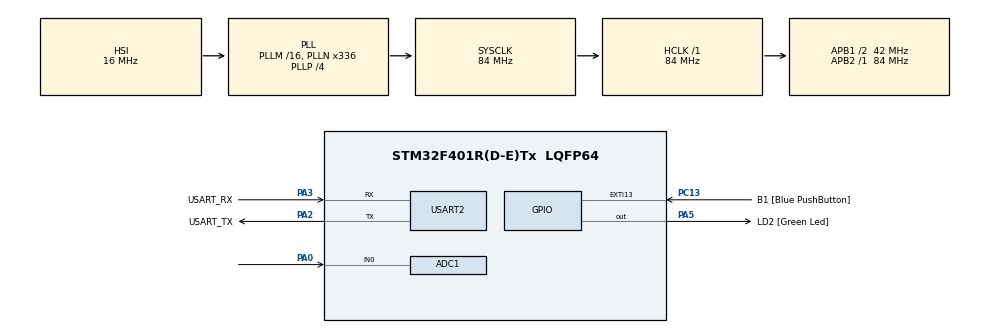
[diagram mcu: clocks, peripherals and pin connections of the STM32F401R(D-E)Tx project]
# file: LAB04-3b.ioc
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ADC1.Channel-0\#ChannelRegularConversion=ADC_CHANNEL_0
ADC1.DMAContinuousRequests=ENABLE
ADC1.ExternalTrigConv=ADC_EXTERNALTRIGCONV_T2_TRGO
ADC1.NbrOfConversionFlag=1
ADC1.Rank-0\#ChannelRegularConversion=1
ADC1.SamplingTime-0\#ChannelRegularConversion=ADC_SAMPLETIME_480CYCLES
ADC1.master=1
Dma.ADC1.0.Direction=DMA_PERIPH_TO_MEMORY
Dma.ADC1.0.FIFOMode=DMA_FIFOMODE_DISABLE
Dma.ADC1.0.Instance=DMA2_Stream0
Dma.ADC1.0.MemDataAlignment=DMA_MDATAALIGN_WORD
Dma.ADC1.0.MemInc=DMA_MINC_ENABLE
Dma.ADC1.0.Mode=DMA_CIRCULAR
Dma.ADC1.0.PeriphDataAlignment=DMA_PDATAALIGN_WORD
Dma.ADC1.0.PeriphInc=DMA_PINC_DISABLE
Dma.ADC1.0.Priority=DMA_PRIORITY_LOW
Dma.Request0=ADC1
Dma.Request1=USART2_TX
Dma.USART2_TX.1.Direction=DMA_MEMORY_TO_PERIPH
Dma.USART2_TX.1.FIFOMode=DMA_FIFOMODE_DISABLE
Dma.USART2_TX.1.Instance=DMA1_Stream6
Dma.USART2_TX.1.MemDataAlignment=DMA_MDATAALIGN_BYTE
Dma.USART2_TX.1.MemInc=DMA_MINC_ENABLE
Dma.USART2_TX.1.Mode=DMA_NORMAL
Dma.USART2_TX.1.PeriphDataAlignment=DMA_PDATAALIGN_BYTE
Dma.USART2_TX.1.PeriphInc=DMA_PINC_DISABLE
Dma.USART2_TX.1.Priority=DMA_PRIORITY_LOW
Mcu.Family=STM32F4
Mcu.Name=STM32F401R(D-E)Tx
Mcu.Package=LQFP64
NVIC.ADC_IRQn=true\:0\:0\:false\:false\:true\:true\:true\:true
NVIC.DMA1_Stream6_IRQn=true\:0\:0\:false\:false\:true\:false\:true\:true
NVIC.DMA2_Stream0_IRQn=true\:0\:0\:false\:false\:true\:false\:true\:true
NVIC.PriorityGroup=NVIC_PRIORITYGROUP_4
NVIC.USART2_IRQn=true\:0\:0\:false\:false\:true\:true\:true\:true
PA0-WKUP.Signal=ADCx_IN0
PA13.GPIO_Label=TMS
PA13.Mode=Trace_Asynchronous_SW
PA13.Signal=SYS_JTMS-SWDIO
PA14.GPIO_Label=TCK
PA14.Mode=Trace_Asynchronous_SW
PA14.Signal=SYS_JTCK-SWCLK
PA2.GPIO_Label=USART_TX
PA2.GPIO_Mode=GPIO_MODE_AF_PP
PA2.GPIO_PuPd=GPIO_NOPULL
PA2.GPIO_Speed=GPIO_SPEED_FREQ_LOW
PA2.Mode=Asynchronous
PA2.Signal=USART2_TX
PA3.GPIO_Label=USART_RX
PA3.GPIO_Mode=GPIO_MODE_AF_PP
PA3.GPIO_PuPd=GPIO_NOPULL
PA3.GPIO_Speed=GPIO_SPEED_FREQ_LOW
PA3.Mode=Asynchronous
PA3.Signal=USART2_RX
PA5.GPIO_Label=LD2 [Green Led]
PA5.GPIO_Mode=GPIO_MODE_OUTPUT_PP
PA5.GPIO_PuPd=GPIO_NOPULL
PA5.GPIO_Speed=GPIO_SPEED_FREQ_LOW
PA5.Signal=GPIO_Output
PB3.GPIO_Label=SWO
PB3.Mode=Trace_Asynchronous_SW
PB3.Signal=SYS_JTDO-SWO
PC13-ANTI_TAMP.GPIO_Label=B1 [Blue PushButton]
PC13-ANTI_TAMP.GPIO_ModeDefaultEXTI=GPIO_MODE_IT_FALLING
PC13-ANTI_TAMP.GPIO_PuPd=GPIO_NOPULL
PC13-ANTI_TAMP.Signal=GPXTI13
PC14-OSC32_IN.Mode=LSE-External-Oscillator
PC14-OSC32_IN.Signal=RCC_OSC32_IN
PC15-OSC32_OUT.Mode=LSE-External-Oscillator
PC15-OSC32_OUT.Signal=RCC_OSC32_OUT
PH0\ -\ OSC_IN.Mode=HSE-External-Clock-Source
PH0\ -\ OSC_IN.Signal=RCC_OSC_IN
PH1\ -\ OSC_OUT.Mode=HSE-External-Clock-Source
PH1\ -\ OSC_OUT.Signal=RCC_OSC_OUT
ProjectManager.HeapSize=0x200
ProjectManager.StackSize=0x400
ProjectManager.TargetToolchain=STM32CubeIDE
RCC.48MHZClocksFreq_Value=48000000
RCC.AHBFreq_Value=84000000
RCC.APB1CLKDivider=RCC_HCLK_DIV2
RCC.APB1Freq_Value=42000000
RCC.APB1TimFreq_Value=84000000
RCC.APB2Freq_Value=84000000
RCC.APB2TimFreq_Value=84000000
RCC.CortexFreq_Value=84000000
RCC.HCLKFreq_Value=84000000
RCC.HSE_VALUE=8000000
RCC.HSI_VALUE=16000000
RCC.PLLN=336
RCC.PLLP=RCC_PLLP_DIV4
RCC.PLLQ=7
RCC.SYSCLKFreq_VALUE=84000000
RCC.SYSCLKSource=RCC_SYSCLKSOURCE_PLLCLK
RCC.VCOOutputFreq_Value=336000000
SH.ADCx_IN0.0=ADC1_IN0,IN0
TIM2.Period=999
TIM2.Prescaler=83
TIM2.TIM_MasterOutputTrigger=TIM_TRGO_UPDATE
USART2.VirtualMode=VM_ASYNC
VP_TIM2_VS_ClockSourceINT.Mode=Internal
board=NUCLEO-F401RE

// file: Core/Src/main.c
/* USER CODE BEGIN Header */
/**
  ******************************************************************************
  * @file           : main.c
  * @brief          : Main program body
  ******************************************************************************
  * @attention
  *
  * Copyright (c) 2026 STMicroelectronics.
  * All rights reserved.
  *
  * This software is licensed under terms that can be found in the LICENSE file
  * in the root directory of this software component.
  * If no LICENSE file comes with this software, it is provided AS-IS.
  *
  ******************************************************************************
  */
/* USER CODE END Header */
#include "main.h"

/* USER CODE BEGIN Includes */

#include <stdio.h>
#include <math.h>

/* USER CODE END Includes */

ADC_HandleTypeDef hadc1;
DMA_HandleTypeDef hdma_adc1;

TIM_HandleTypeDef htim2;

UART_HandleTypeDef huart2;
DMA_HandleTypeDef hdma_usart2_tx;

/* USER CODE BEGIN PV */

// Array to hold 2000 samples (2 seconds of data at 1ms intervals)
uint32_t adc_buffer[2000];

// Variables for calculations
float v_adc = 0;
float r_ldr = 0;
float lux = 0;

// UART transmission buffer
char tx_buffer[100];
int length;

/* USER CODE END PV */

void SystemClock_Config(void);
static void MX_GPIO_Init(void);
static void MX_DMA_Init(void);
static void MX_USART2_UART_Init(void);
static void MX_ADC1_Init(void);
static void MX_TIM2_Init(void);

/* USER CODE BEGIN 0 */

// Helper function to process 1000 samples and send UART
void Process_LDR_Data(uint16_t start_index)
{
  uint32_t adc_sum = 0;

  // Sum up 1000 values from the specified half of the buffer
  for(int i = start_index; i < start_index + 1000; i++) {
	  adc_sum += adc_buffer[i];
  }

  // Compute the average raw value
  float avg_raw = adc_sum / 1000.0;

  // Convert average raw value to Voltage
  v_adc = (avg_raw / 4095.0) * 3.3;

  // Convert to Resistance (kOhms)
  if (v_adc >= 3.29) {
	  v_adc = 3.29;
  }
  r_ldr = (v_adc * 100.0) / (3.3 - v_adc);

  // Convert Resistance to LUX
  lux = 10.0 * pow((100.0 / r_ldr), 1.25);

  // Format and transmit via UART
  length = snprintf(tx_buffer, sizeof(tx_buffer), "V: %.2fV | LDR: %.1f kOhm | LUX: %.1f\r\n", v_adc, r_ldr, lux);
  HAL_UART_Transmit_DMA(&huart2, (uint8_t*)tx_buffer, length);
}

/* USER CODE END 0 */

int main(void)
{

  /* MCU Configuration--------------------------------------------------------*/

  /* Reset of all peripherals, Initializes the Flash interface and the Systick. */
  HAL_Init();

  /* Configure the system clock */
  SystemClock_Config();

  /* Initialize all configured peripherals */
  MX_GPIO_Init();
  MX_DMA_Init();
  MX_USART2_UART_Init();
  MX_ADC1_Init();
  MX_TIM2_Init();
  /* USER CODE BEGIN 2 */

  // Start the ADC in DMA mode
  HAL_ADC_Start_DMA(&hadc1, (uint32_t*)adc_buffer, 2000);

  // Start the Timer
  HAL_TIM_Base_Start(&htim2);

  /* USER CODE END 2 */

  /* Infinite loop */
  while (1)
  {

  }
}

void SystemClock_Config(void)
{
  RCC_OscInitTypeDef RCC_OscInitStruct = {0};
  RCC_ClkInitTypeDef RCC_ClkInitStruct = {0};

  /** Configure the main internal regulator output voltage
  */
  __HAL_RCC_PWR_CLK_ENABLE();
  __HAL_PWR_VOLTAGESCALING_CONFIG(PWR_REGULATOR_VOLTAGE_SCALE2);

  /** Initializes the RCC Oscillators according to the specified parameters
  * in the RCC_OscInitTypeDef structure.
  */
  RCC_OscInitStruct.OscillatorType = RCC_OSCILLATORTYPE_HSI;
  RCC_OscInitStruct.HSIState = RCC_HSI_ON;
  RCC_OscInitStruct.HSICalibrationValue = RCC_HSICALIBRATION_DEFAULT;
  RCC_OscInitStruct.PLL.PLLState = RCC_PLL_ON;
  RCC_OscInitStruct.PLL.PLLSource = RCC_PLLSOURCE_HSI;
  RCC_OscInitStruct.PLL.PLLM = 16;
  RCC_OscInitStruct.PLL.PLLN = 336;
  RCC_OscInitStruct.PLL.PLLP = RCC_PLLP_DIV4;
  RCC_OscInitStruct.PLL.PLLQ = 7;
  if (HAL_RCC_OscConfig(&RCC_OscInitStruct) != HAL_OK)
  {
    Error_Handler();
  }

  /** Initializes the CPU, AHB and APB buses clocks
  */
  RCC_ClkInitStruct.ClockType = RCC_CLOCKTYPE_HCLK|RCC_CLOCKTYPE_SYSCLK
                              |RCC_CLOCKTYPE_PCLK1|RCC_CLOCKTYPE_PCLK2;
  RCC_ClkInitStruct.SYSCLKSource = RCC_SYSCLKSOURCE_PLLCLK;
  RCC_ClkInitStruct.AHBCLKDivider = RCC_SYSCLK_DIV1;
  RCC_ClkInitStruct.APB1CLKDivider = RCC_HCLK_DIV2;
  RCC_ClkInitStruct.APB2CLKDivider = RCC_HCLK_DIV1;

  if (HAL_RCC_ClockConfig(&RCC_ClkInitStruct, FLASH_LATENCY_2) != HAL_OK)
  {
    Error_Handler();
  }
}

static void MX_ADC1_Init(void)
{

  ADC_ChannelConfTypeDef sConfig = {0};

  /** Configure the global features of the ADC (Clock, Resolution, Data Alignment and number of conversion)
  */
  hadc1.Instance = ADC1;
  hadc1.Init.ClockPrescaler = ADC_CLOCK_SYNC_PCLK_DIV4;
  hadc1.Init.Resolution = ADC_RESOLUTION_12B;
  hadc1.Init.ScanConvMode = DISABLE;
  hadc1.Init.ContinuousConvMode = DISABLE;
  hadc1.Init.DiscontinuousConvMode = DISABLE;
  hadc1.Init.ExternalTrigConvEdge = ADC_EXTERNALTRIGCONVEDGE_RISING;
  hadc1.Init.ExternalTrigConv = ADC_EXTERNALTRIGCONV_T2_TRGO;
  hadc1.Init.DataAlign = ADC_DATAALIGN_RIGHT;
  hadc1.Init.NbrOfConversion = 1;
  hadc1.Init.DMAContinuousRequests = ENABLE;
  hadc1.Init.EOCSelection = ADC_EOC_SINGLE_CONV;
  if (HAL_ADC_Init(&hadc1) != HAL_OK)
  {
    Error_Handler();
  }

  /** Configure for the selected ADC regular channel its corresponding rank in the sequencer and its sample time.
  */
  sConfig.Channel = ADC_CHANNEL_0;
  sConfig.Rank = 1;
  sConfig.SamplingTime = ADC_SAMPLETIME_480CYCLES;
  if (HAL_ADC_ConfigChannel(&hadc1, &sConfig) != HAL_OK)
  {
    Error_Handler();
  }

}

static void MX_TIM2_Init(void)
{

  TIM_ClockConfigTypeDef sClockSourceConfig = {0};
  TIM_MasterConfigTypeDef sMasterConfig = {0};

  htim2.Instance = TIM2;
  htim2.Init.Prescaler = 83;
  htim2.Init.CounterMode = TIM_COUNTERMODE_UP;
  htim2.Init.Period = 999;
  htim2.Init.ClockDivision = TIM_CLOCKDIVISION_DIV1;
  htim2.Init.AutoReloadPreload = TIM_AUTORELOAD_PRELOAD_DISABLE;
  if (HAL_TIM_Base_Init(&htim2) != HAL_OK)
  {
    Error_Handler();
  }
  sClockSourceConfig.ClockSource = TIM_CLOCKSOURCE_INTERNAL;
  if (HAL_TIM_ConfigClockSource(&htim2, &sClockSourceConfig) != HAL_OK)
  {
    Error_Handler();
  }
  sMasterConfig.MasterOutputTrigger = TIM_TRGO_UPDATE;
  sMasterConfig.MasterSlaveMode = TIM_MASTERSLAVEMODE_DISABLE;
  if (HAL_TIMEx_MasterConfigSynchronization(&htim2, &sMasterConfig) != HAL_OK)
  {
    Error_Handler();
  }

}

static void MX_USART2_UART_Init(void)
{

  huart2.Instance = USART2;
  huart2.Init.BaudRate = 115200;
  huart2.Init.WordLength = UART_WORDLENGTH_8B;
  huart2.Init.StopBits = UART_STOPBITS_1;
  huart2.Init.Parity = UART_PARITY_NONE;
  huart2.Init.Mode = UART_MODE_TX_RX;
  huart2.Init.HwFlowCtl = UART_HWCONTROL_NONE;
  huart2.Init.OverSampling = UART_OVERSAMPLING_16;
  if (HAL_UART_Init(&huart2) != HAL_OK)
  {
    Error_Handler();
  }

}

static void MX_DMA_Init(void)
{

  /* DMA controller clock enable */
  __HAL_RCC_DMA2_CLK_ENABLE();
  __HAL_RCC_DMA1_CLK_ENABLE();

  /* DMA interrupt init */
  /* DMA1_Stream6_IRQn interrupt configuration */
  HAL_NVIC_SetPriority(DMA1_Stream6_IRQn, 0, 0);
  HAL_NVIC_EnableIRQ(DMA1_Stream6_IRQn);
  /* DMA2_Stream0_IRQn interrupt configuration */
  HAL_NVIC_SetPriority(DMA2_Stream0_IRQn, 0, 0);
  HAL_NVIC_EnableIRQ(DMA2_Stream0_IRQn);

}

static void MX_GPIO_Init(void)
{
  GPIO_InitTypeDef GPIO_InitStruct = {0};

  /* GPIO Ports Clock Enable */
  __HAL_RCC_GPIOC_CLK_ENABLE();
  __HAL_RCC_GPIOH_CLK_ENABLE();
  __HAL_RCC_GPIOA_CLK_ENABLE();
  __HAL_RCC_GPIOB_CLK_ENABLE();

  /*Configure GPIO pin Output Level */
  HAL_GPIO_WritePin(LD2_GPIO_Port, LD2_Pin, GPIO_PIN_RESET);

  /*Configure GPIO pin : B1_Pin */
  GPIO_InitStruct.Pin = B1_Pin;
  GPIO_InitStruct.Mode = GPIO_MODE_IT_FALLING;
  GPIO_InitStruct.Pull = GPIO_NOPULL;
  HAL_GPIO_Init(B1_GPIO_Port, &GPIO_InitStruct);

  /*Configure GPIO pin : LD2_Pin */
  GPIO_InitStruct.Pin = LD2_Pin;
  GPIO_InitStruct.Mode = GPIO_MODE_OUTPUT_PP;
  GPIO_InitStruct.Pull = GPIO_NOPULL;
  GPIO_InitStruct.Speed = GPIO_SPEED_FREQ_LOW;
  HAL_GPIO_Init(LD2_GPIO_Port, &GPIO_InitStruct);

}

/* USER CODE BEGIN 4 */

// This callback is automatically called when ADC finishes a conversion of the first 1000 samples
void HAL_ADC_ConvHalfCpltCallback(ADC_HandleTypeDef* hadc)
{
  if (hadc->Instance == ADC1) {
	  Process_LDR_Data(0);
  }
}

// This callback is automatically called when ADC finishes a conversion of the second 1000 samples
void HAL_ADC_ConvCpltCallback(ADC_HandleTypeDef* hadc)
{
  if (hadc->Instance == ADC1) {
	  Process_LDR_Data(1000);
  }
}

/* USER CODE END 4 */

void Error_Handler(void)
{
  __disable_irq();
  while (1)
  {
  }
}
